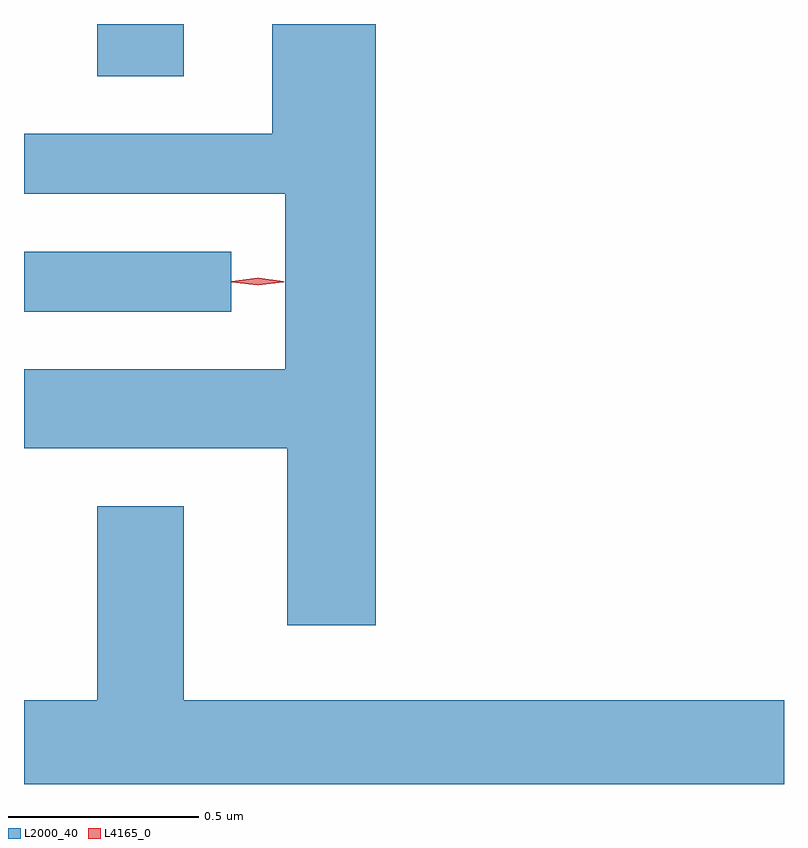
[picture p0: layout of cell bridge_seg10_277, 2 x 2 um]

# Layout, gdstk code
import gdstk
lib = gdstk.Library(unit=1e-6, precision=1e-09)
def R(c, l, rs):  # rectangles x0, y0, x1, y1
    for r in rs: c.add(gdstk.rectangle(r[:2], r[2:], *l))
def P(c, l, *ps):  # polygons
    for p in ps: c.add(gdstk.Polygon(p, *l))
L2000_40 = (2000, 40)
L4165_0 = (4165, 0)

bridge_seg10_277 = lib.new_cell('bridge_seg10_277')
R(bridge_seg10_277, L2000_40, [(1807.048,2093.006,1807.593,2093.164), (1807.241,2093.626,1807.469,2093.763)])
P(bridge_seg10_277, L2000_40, [(1807.974,2093.763),(1807.701,2093.763),(1807.701,2093.474),(1807.048,2093.474),(1807.048,2093.316),(1807.736,2093.316),(1807.736,2092.854),(1807.048,2092.854),(1807.048,2092.646),(1807.741,2092.646),(1807.741,2092.181),(1807.974,2092.181)],
  [(1809.048,2091.984),(1807.469,2091.984),(1807.469,2092.494),(1807.241,2092.494),(1807.241,2091.984),(1807.048,2091.984),(1807.048,2091.763),(1809.048,2091.763)])
P(bridge_seg10_277, L4165_0, [(1807.664,2093.075),(1807.597,2093.085),(1807.597,2093.085),(1807.597,2093.086),(1807.664,2093.095),(1807.729,2093.086),(1807.73,2093.085),(1807.729,2093.085)],
  [(1807.663,2093.075),(1807.594,2093.084),(1807.593,2093.085),(1807.594,2093.086),(1807.663,2093.095),(1807.732,2093.086),(1807.732,2093.085),(1807.732,2093.084)])

lib.write_gds('bridge_seg10_277.gds')
